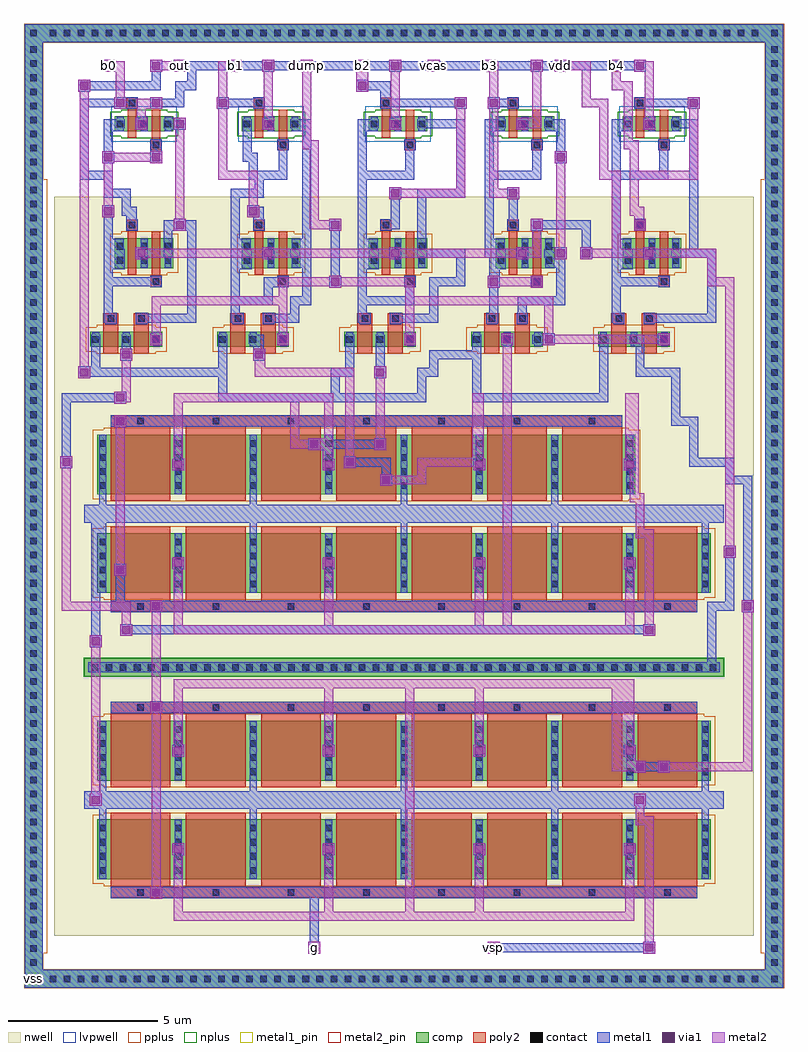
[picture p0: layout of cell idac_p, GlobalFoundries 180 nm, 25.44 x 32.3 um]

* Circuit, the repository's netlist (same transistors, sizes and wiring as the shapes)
* NGSPICE file created from idac_p.ext - technology: gf180mcuD

.subckt p_w2_l2_f8 a_n52_n200# a_n1060_n200# a_452_n200# a_1564_n244# a_n452_n244#
+ w_n2138_n330# a_n556_n200# a_n1460_n244# a_1460_n200# a_52_n244# a_n1564_n200# a_956_n200#
+ a_n2052_n200# a_n956_n244# a_1060_n244# a_n1964_n244# a_556_n244# a_1964_n200#
X0 a_1964_n200# a_1564_n244# a_1460_n200# w_n2138_n330# pfet_03v3 ad=0.88p pd=4.88u as=0.52p ps=2.52u w=2u l=2u
X1 a_452_n200# a_52_n244# a_n52_n200# w_n2138_n330# pfet_03v3 ad=0.52p pd=2.52u as=0.52p ps=2.52u w=2u l=2u
X2 a_956_n200# a_556_n244# a_452_n200# w_n2138_n330# pfet_03v3 ad=0.52p pd=2.52u as=0.52p ps=2.52u w=2u l=2u
X3 a_1460_n200# a_1060_n244# a_956_n200# w_n2138_n330# pfet_03v3 ad=0.52p pd=2.52u as=0.52p ps=2.52u w=2u l=2u
X4 a_n1564_n200# a_n1964_n244# a_n2052_n200# w_n2138_n330# pfet_03v3 ad=0.52p pd=2.52u as=0.88p ps=4.88u w=2u l=2u
X5 a_n1060_n200# a_n1460_n244# a_n1564_n200# w_n2138_n330# pfet_03v3 ad=0.52p pd=2.52u as=0.52p ps=2.52u w=2u l=2u
X6 a_n556_n200# a_n956_n244# a_n1060_n200# w_n2138_n330# pfet_03v3 ad=0.52p pd=2.52u as=0.52p ps=2.52u w=2u l=2u
X7 a_n52_n200# a_n452_n244# a_n556_n200# w_n2138_n330# pfet_03v3 ad=0.52p pd=2.52u as=0.52p ps=2.52u w=2u l=2u
.ends

.subckt p_w1_l0p28_f2 a_n196_n100# a_n52_n100# w_n282_n230# a_108_n100# a_52_n144#
+ a_n108_n144#
X0 a_n52_n100# a_n108_n144# a_n196_n100# w_n282_n230# pfet_03v3 ad=0.26p pd=1.52u as=0.44p ps=2.88u w=1u l=0.28u
X1 a_108_n100# a_52_n144# a_n52_n100# w_n282_n230# pfet_03v3 ad=0.44p pd=2.88u as=0.26p ps=1.52u w=1u l=0.28u
.ends

.subckt n_w0p5_l0p28_f2 a_n52_n50# a_n196_n50# a_52_n94# a_108_n50# a_n108_n94# VSUBS
X0 a_108_n50# a_52_n94# a_n52_n50# VSUBS nfet_03v3 ad=0.22p pd=1.88u as=0.13p ps=1.02u w=0.5u l=0.28u
X1 a_n52_n50# a_n108_n94# a_n196_n50# VSUBS nfet_03v3 ad=0.13p pd=1.02u as=0.22p ps=1.88u w=0.5u l=0.28u
.ends

.subckt p_w2_l2_f7 a_n704_n244# a_n808_n200# a_304_n244# a_n1712_n244# a_1712_n200#
+ a_n1800_n200# a_n1208_n244# a_1208_n200# a_200_n200# a_1312_n244# a_808_n244# a_n200_n244#
+ a_n304_n200# w_n1886_n330# a_n1312_n200# a_704_n200#
X0 a_n1312_n200# a_n1712_n244# a_n1800_n200# w_n1886_n330# pfet_03v3 ad=0.52p pd=2.52u as=0.88p ps=4.88u w=2u l=2u
X1 a_n304_n200# a_n704_n244# a_n808_n200# w_n1886_n330# pfet_03v3 ad=0.52p pd=2.52u as=0.52p ps=2.52u w=2u l=2u
X2 a_200_n200# a_n200_n244# a_n304_n200# w_n1886_n330# pfet_03v3 ad=0.52p pd=2.52u as=0.52p ps=2.52u w=2u l=2u
X3 a_1712_n200# a_1312_n244# a_1208_n200# w_n1886_n330# pfet_03v3 ad=0.88p pd=4.88u as=0.52p ps=2.52u w=2u l=2u
X4 a_1208_n200# a_808_n244# a_704_n200# w_n1886_n330# pfet_03v3 ad=0.52p pd=2.52u as=0.52p ps=2.52u w=2u l=2u
X5 a_n808_n200# a_n1208_n244# a_n1312_n200# w_n1886_n330# pfet_03v3 ad=0.52p pd=2.52u as=0.52p ps=2.52u w=2u l=2u
X6 a_704_n200# a_304_n244# a_200_n200# w_n1886_n330# pfet_03v3 ad=0.52p pd=2.52u as=0.52p ps=2.52u w=2u l=2u
.ends

.subckt p_w0p5_l0p5_f2 a_n52_n50# w_n326_n180# a_52_n94# a_152_n50# a_n240_n50# a_n152_n94#
X0 a_152_n50# a_52_n94# a_n52_n50# w_n326_n180# pfet_03v3 ad=0.22p pd=1.88u as=0.13p ps=1.02u w=0.5u l=0.5u
X1 a_n52_n50# a_n152_n94# a_n240_n50# w_n326_n180# pfet_03v3 ad=0.13p pd=1.02u as=0.22p ps=1.88u w=0.5u l=0.5u
.ends

.subckt idac_p g vsp b0 b1 b2 b3 b4 out dump vcas vdd vss
XU4b vsp vsp m1_988_888# g g vdd m1_988_888# g m1_988_888# g m1_988_888# vsp vsp g
+ g g g vsp p_w2_l2_f8
XU3 vsp vsp m1_988_2804# g g vdd m1_988_2804# g m1_988_2804# g m1_988_2804# vsp vsp
+ g g g g vsp p_w2_l2_f8
XIP0 a_528_4392# vdd vdd a_732_4392# a_528_4392# b0 p_w1_l0p28_f2
XIP1 a_1378_4392# vdd vdd a_1582_4392# a_1378_4392# b1 p_w1_l0p28_f2
XIN0 vcas a_528_4392# a_528_4392# a_732_4392# b0 vss n_w0p5_l0p28_f2
XIP2 a_2228_4392# vdd vdd a_2432_4392# a_2228_4392# b2 p_w1_l0p28_f2
XIN1 vcas a_1378_4392# a_1378_4392# a_1582_4392# b1 vss n_w0p5_l0p28_f2
XIP3 a_3078_4392# vdd vdd a_3282_4392# a_3078_4392# b3 p_w1_l0p28_f2
XIN3 vcas a_3078_4392# a_3078_4392# a_3282_4392# b3 vss n_w0p5_l0p28_f2
XIN2 vcas a_2228_4392# a_2228_4392# a_2432_4392# b2 vss n_w0p5_l0p28_f2
XIP4 a_3928_4392# vdd vdd a_4132_4392# a_3928_4392# b4 p_w1_l0p28_f2
XIN4 vcas a_3928_4392# a_3928_4392# a_4132_4392# b4 vss n_w0p5_l0p28_f2
XU210 g vsp g g m1_240_3480# vsp g vsp vsp g g g m1_988_3464# vdd m1_988_3464# m1_1500_4312#
+ p_w2_l2_f7
XSW0 m1_240_3480# vdd a_732_4392# dump out a_528_4392# p_w0p5_l0p5_f2
XSW2 m1_988_3464# vdd a_2432_4392# dump out a_2228_4392# p_w0p5_l0p5_f2
XSW1 m1_1500_4312# vdd a_1582_4392# dump out a_1378_4392# p_w0p5_l0p5_f2
XSW3 m1_988_2804# vdd a_3282_4392# dump out a_3078_4392# p_w0p5_l0p5_f2
XSW4 m1_988_888# vdd a_4132_4392# dump out a_3928_4392# p_w0p5_l0p5_f2
XU4a vsp vsp m1_988_888# g g vdd m1_988_888# g m1_988_888# g m1_988_888# vsp vsp g
+ g g g vsp p_w2_l2_f8
.ends

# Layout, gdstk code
import gdstk
lib = gdstk.Library(unit=1e-6, precision=1e-09)
def R(c, l, rs):  # rectangles x0, y0, x1, y1
    for r in rs: c.add(gdstk.rectangle(r[:2], r[2:], *l))
def A(c, l, x, y, w, h, nx, ny, dx, dy):  # array of equal rectangles
    R(c, l, [(x+i*dx, y+j*dy, x+i*dx+w, y+j*dy+h) for i in range(nx) for j in range(ny)])
nwell = (21, 0)
comp = (22, 0)
poly2 = (30, 0)
pplus = (31, 0)
nplus = (32, 0)
contact = (33, 0)
metal1 = (34, 0)
metal1_pin = (34, 10)
via1 = (35, 0)
metal2 = (36, 0)
metal2_pin = (36, 10)
lvpwell = (204, 0)

p_w2_l2_f8 = lib.new_cell('p_w2_l2_f8')
R(p_w2_l2_f8, nwell, [(-10.69,-1.65,10.69,1.65)])
R(p_w2_l2_f8, comp, [(-10.26,-1,10.26,1)])
A(p_w2_l2_f8, poly2, -9.82, -1.22, 2, 2.44, 8, 1, 2.52, 0)
R(p_w2_l2_f8, pplus, [(-10.05,-1.23,10.05,-1.16), (-10.42,-1.16,10.42,1.16), (-10.05,1.16,10.05,1.23)])
A(p_w2_l2_f8, contact, -10.19, -0.815, 0.22, 0.22, 9, 4, 2.52, 0.47)
A(p_w2_l2_f8, metal1, -10.195, -0.99, 0.23, 1.98, 9, 1, 2.52, 0)

p_w2_l2_f7 = lib.new_cell('p_w2_l2_f7')
R(p_w2_l2_f7, nwell, [(-9.43,-1.65,9.43,1.65)])
R(p_w2_l2_f7, comp, [(-9,-1,9,1)])
A(p_w2_l2_f7, poly2, -8.56, -1.22, 2, 2.44, 7, 1, 2.52, 0)
R(p_w2_l2_f7, pplus, [(-8.79,-1.23,8.79,-1.16), (-9.16,-1.16,9.16,1.16), (-8.79,1.16,8.79,1.23)])
A(p_w2_l2_f7, contact, -8.93, -0.815, 0.22, 0.22, 8, 4, 2.52, 0.47)
A(p_w2_l2_f7, metal1, -8.935, -0.99, 0.23, 1.98, 8, 1, 2.52, 0)

p_w0p5_l0p5_f2 = lib.new_cell('p_w0p5_l0p5_f2')
R(p_w0p5_l0p5_f2, nwell, [(-1.63,-0.9,1.63,0.9)])
R(p_w0p5_l0p5_f2, comp, [(-1.2,-0.25,1.2,0.25)])
R(p_w0p5_l0p5_f2, poly2, [(-0.76,-0.47,-0.26,0.47), (0.26,-0.47,0.76,0.47)])
R(p_w0p5_l0p5_f2, pplus, [(-0.99,-0.48,0.99,-0.41), (-1.36,-0.41,1.36,0.41), (-0.99,0.41,0.99,0.48)])
A(p_w0p5_l0p5_f2, contact, -1.13, -0.11, 0.22, 0.22, 3, 1, 1.02, 0)
A(p_w0p5_l0p5_f2, metal1, -1.135, -0.24, 0.23, 0.48, 3, 1, 1.02, 0)

p_w1_l0p28_f2 = lib.new_cell('p_w1_l0p28_f2')
R(p_w1_l0p28_f2, nwell, [(-1.41,-1.15,1.41,1.15)])
R(p_w1_l0p28_f2, comp, [(-0.98,-0.5,0.98,0.5)])
R(p_w1_l0p28_f2, poly2, [(-0.54,-0.72,-0.26,0.72), (0.26,-0.72,0.54,0.72)])
R(p_w1_l0p28_f2, pplus, [(-0.77,-0.73,0.77,-0.66), (-1.14,-0.66,1.14,0.66), (-0.77,0.66,0.77,0.73)])
A(p_w1_l0p28_f2, contact, -0.91, -0.345, 0.22, 0.22, 3, 2, 0.8, 0.47)
A(p_w1_l0p28_f2, metal1, -0.915, -0.49, 0.23, 0.98, 3, 1, 0.8, 0)

n_w0p5_l0p28_f2 = lib.new_cell('n_w0p5_l0p28_f2')
R(n_w0p5_l0p28_f2, comp, [(-0.98,-0.25,0.98,0.25)])
R(n_w0p5_l0p28_f2, poly2, [(-0.54,-0.47,-0.26,0.47), (0.26,-0.47,0.54,0.47)])
R(n_w0p5_l0p28_f2, nplus, [(-0.77,-0.48,0.77,-0.41), (-1.14,-0.41,1.14,0.41), (-0.77,0.41,0.77,0.48)])
A(n_w0p5_l0p28_f2, contact, -0.91, -0.11, 0.22, 0.22, 3, 1, 0.8, 0)
A(n_w0p5_l0p28_f2, metal1, -0.915, -0.24, 0.23, 0.48, 3, 1, 0.8, 0)
R(n_w0p5_l0p28_f2, lvpwell, [(-1.1,-0.59,1.1,0.59)])

idac_p = lib.new_cell('idac_p')
R(idac_p, nwell, [(1,1.75,24.4,26.48)])
R(idac_p, comp, [(0,0,25.4,0.6), (0,0.6,0.6,31.66), (24.8,0.6,25.4,31.66), (2,10.43,23.4,11.03), (0,31.66,25.4,32.26)])
A(idac_p, poly2, 2.88, 3.37, 2, 0.27, 8, 2, 2.52, 5.57)
A(idac_p, poly2, 2.88, 12.95, 2, 0.27, 8, 1, 2.52, 0)
A(idac_p, poly2, 2.88, 18.52, 2, 0.27, 7, 1, 2.52, 0)
A(idac_p, poly2, 4.22, 23.46, 0.36, 0.36, 5, 2, 4.25, 4.58)
A(idac_p, poly2, 4.26, 23.82, 0.28, 0.27, 5, 2, 4.25, 4.58)
A(idac_p, poly2, 3.46, 25.09, 0.28, 0.27, 5, 2, 4.25, 4.08)
A(idac_p, poly2, 3.42, 25.36, 0.36, 0.36, 5, 2, 4.25, 4.08)
R(idac_p, poly2, [(2.88,3.01,22.52,3.37), (2.88,9.21,22.52,9.57), (2.88,12.59,22.52,12.95), (2.88,18.79,20,19.15), (2.64,21.96,3.14,22.59), (3.66,21.96,4.16,22.59), (6.89,21.96,7.39,22.59), (7.91,21.96,8.41,22.59), (11.14,21.96,11.64,22.59), (12.16,21.96,12.66,22.59), (15.39,21.96,15.89,22.59), (16.41,21.96,16.91,22.59), (19.64,21.96,20.14,22.59), (20.66,21.96,21.16,22.59)])
R(idac_p, pplus, [(-0.02,-0.02,25.42,0.62), (-0.02,0.62,0.62,1.16), (24.78,0.62,25.42,1.16), (-0.02,1.16,0.76,27.07), (24.64,1.16,25.42,27.07), (-0.02,27.07,0.62,31.64), (24.78,27.07,25.42,31.64), (-0.02,31.64,25.42,32.28)])
R(idac_p, nplus, [(1.98,10.41,23.42,11.05)])
A(idac_p, contact, 0.84, 0.19, 0.22, 0.22, 51, 2, 0.47, 31.66)
A(idac_p, contact, 0.19, 0.745, 0.22, 0.22, 1, 66, 0, 0.47)
A(idac_p, contact, 24.99, 0.745, 0.22, 0.22, 1, 66, 0, 0.47)
A(idac_p, contact, 3.77, 3.08, 0.22, 0.22, 8, 2, 2.52, 6.2)
A(idac_p, contact, 2.25, 10.62, 0.22, 0.22, 45, 1, 0.47, 0)
A(idac_p, contact, 3.77, 12.66, 0.22, 0.22, 8, 1, 2.52, 0)
A(idac_p, contact, 3.77, 18.86, 0.22, 0.22, 7, 1, 2.52, 0)
A(idac_p, contact, 4.29, 23.53, 0.22, 0.22, 5, 2, 4.25, 4.58)
A(idac_p, contact, 3.49, 25.43, 0.22, 0.22, 5, 2, 4.25, 4.08)
R(idac_p, contact, [(0.19,0.19,0.41,0.41), (24.99,0.19,25.21,0.41), (2.78,22.3,3,22.52), (3.8,22.3,4.02,22.52), (7.03,22.3,7.25,22.52), (8.05,22.3,8.27,22.52), (11.28,22.3,11.5,22.52), (12.3,22.3,12.52,22.52), (15.53,22.3,15.75,22.52), (16.55,22.3,16.77,22.52), (19.78,22.3,20,22.52), (20.8,22.3,21.02,22.52), (0.19,31.85,0.41,32.07), (24.99,31.85,25.21,32.07)])
A(idac_p, metal1, 2.505, 3.65, 0.23, 2.34, 5, 2, 5.04, 2.94)
A(idac_p, metal1, 4.94, 4.44, 0.4, 0.4, 4, 2, 5.04, 3.3)
A(idac_p, metal1, 7.545, 13.23, 0.23, 2.34, 4, 1, 5.04, 0)
A(idac_p, metal1, 4.94, 14.02, 0.4, 0.4, 4, 2, 5.04, 3.3)
A(idac_p, metal1, 2.505, 16.17, 0.23, 2.34, 4, 1, 5.04, 0)
A(idac_p, metal1, 4.2, 21.51, 0.4, 0.4, 3, 1, 4.25, 0)
A(idac_p, metal1, 2.65, 22.26, 0.43, 0.34, 3, 1, 4.25, 0)
A(idac_p, metal1, 3.72, 22.56, 0.38, 0.04, 3, 1, 4.25, 0)
A(idac_p, metal1, 2.65, 24.05, 0.7, 0.3, 3, 1, 4.25, 0)
A(idac_p, metal1, 2.65, 24.35, 0.435, 0.09, 3, 1, 4.25, 0)
A(idac_p, metal1, 3.315, 24.35, 0.035, 0.09, 5, 1, 4.25, 0)
A(idac_p, metal1, 3.71, 24.39, 0.4, 0.4, 4, 1, 4.25, 0)
A(idac_p, metal1, 11.15, 24.44, 0.7, 0.3, 3, 1, 4.25, 0)
A(idac_p, metal1, 11.15, 24.74, 0.435, 0.34, 3, 1, 4.25, 0)
A(idac_p, metal1, 11.15, 25.08, 0.3, 1.97, 3, 1, 4.25, 0)
A(idac_p, metal1, 11.15, 27.05, 1.9, 0.3, 3, 1, 4.25, 0)
A(idac_p, metal1, 8.5, 27.35, 0.3, 0.68, 4, 1, 4.25, 0)
A(idac_p, metal1, 11.15, 27.35, 0.3, 1.33, 3, 1, 4.25, 0)
A(idac_p, metal1, 8.46, 28.03, 0.38, 0.38, 4, 1, 4.25, 0)
A(idac_p, metal1, 3.71, 28.72, 0.4, 0.4, 5, 1, 4.25, 0)
A(idac_p, metal1, 7.66, 29.43, 0.38, 0.04, 4, 2, 4.25, 0.34)
A(idac_p, metal1, 13.5, 30.66, 0.4, 0.05, 3, 2, 3.45, 0.35)
R(idac_p, metal1, [(0,0,25.4,0.6), (0,0.6,0.6,31.66), (24.8,0.6,25.4,31.66), (9.5,1.15,9.9,1.55), (15.5,1.15,15.9,1.2), (20.71,1.15,21.11,1.2), (15.5,1.2,21.11,1.5), (15.5,1.5,15.9,1.55), (20.71,1.5,21.11,1.55), (9.55,1.55,9.85,3), (4.2,2.99,4.6,3), (2.88,3,22.52,3.38), (4.2,3.38,4.6,3.39), (2,5.99,23.4,6.59), (20.375,7.2,20.8,7.25), (21.2,7.2,21.6,7.25), (20.375,7.25,21.6,7.55), (20.375,7.55,20.8,7.6), (21.2,7.55,21.6,7.6), (20.375,7.6,20.46,7.74), (4.2,9.19,4.6,9.2), (2.88,9.2,22.52,9.58), (4.2,9.58,4.6,9.59), (2.13,10.56,23.27,10.9), (22.85,10.9,23.15,12.62), (2.18,11.4,2.58,11.8), (3.2,11.78,3.6,11.83), (20.71,11.78,21.11,11.83), (2.23,11.8,2.53,13.23), (3.2,11.83,21.11,12.13), (3.2,12.13,3.6,12.18), (20.71,12.13,21.11,12.18), (4.2,12.57,4.6,12.58), (24,12.57,24.4,12.97), (2.88,12.58,22.52,12.96), (22.85,12.62,23.75,12.92), (23.45,12.92,23.75,14.4), (3.05,12.96,3.35,13.8), (4.2,12.96,4.6,12.97), (24.05,12.97,24.35,16.85), (2.23,13.23,2.735,15.57), (3,13.8,3.4,14.2), (23.4,14.4,23.8,14.8), (2,15.57,23.4,16.17), (11.9,16.8,12.3,17.2), (23.45,16.85,24.35,17.15), (23.45,17.15,23.75,17.45), (11.95,17.2,12.25,17.45), (1.2,17.4,1.6,17.8), (10.68,17.4,11.08,17.45), (10.68,17.45,12.25,17.75), (22.25,17.45,23.75,17.75), (10.68,17.75,11.08,17.8), (22.25,17.75,22.55,18.82), (1.25,17.8,1.55,19.61), (9.5,18,10.065,18.05), (11.7,18,12.1,18.05), (9.5,18.05,12.1,18.35), (9.5,18.35,10.065,18.4), (11.7,18.35,12.1,18.4), (3,18.77,3.4,18.78), (2.88,18.78,20,19.16), (21.65,18.82,22.55,19.12), (21.65,19.12,21.95,20.45), (3,19.16,3.4,19.17), (3,19.56,3.4,19.61), (1.25,19.61,3.4,19.91), (6.48,19.61,13.45,19.91), (14.98,19.61,19.53,19.91), (3,19.91,3.4,19.96), (6.48,19.91,6.78,20.45), (10.25,19.91,10.55,20.45), (13.15,19.91,13.45,20.45), (14.98,19.91,15.28,21.05), (19.23,19.91,19.53,21.86), (1.8,20.4,2.2,20.45), (11.7,20.4,12.1,20.8), (1.8,20.45,6.78,20.75), (10.25,20.45,11.03,20.75), (13.15,20.45,13.85,20.75), (20.45,20.45,21.95,20.75), (1.8,20.75,2.53,20.8), (6.48,20.75,6.78,21.86), (10.73,20.75,11.03,21.86), (13.55,20.75,13.85,21.05), (20.45,20.75,20.75,21.56), (2.23,20.8,2.53,21.86), (11.75,20.8,12.05,21.86), (3.2,21,3.6,21.4), (7.65,21,8.05,21.4), (13.55,21.05,15.28,21.35), (14.98,21.35,15.28,21.86), (3.25,21.4,3.55,21.86), (7.65,21.4,8,21.47), (7.7,21.47,8,21.56), (15.95,21.51,16.35,21.91), (17.285,21.51,17.75,21.56), (21.2,21.51,21.6,21.91), (7.5,21.56,8,21.86), (17,21.56,17.75,21.86), (20.25,21.56,20.75,21.86), (17.285,21.86,17.75,21.91), (2.7,22.22,3.08,22.26), (3.72,22.22,4.1,22.26), (6.95,22.22,7.33,22.26), (7.97,22.22,8.35,22.26), (11.2,22.22,11.58,22.26), (12.22,22.22,12.6,22.26), (15.45,22.22,15.83,22.26), (16.47,22.22,16.85,22.6), (19.7,22.22,20.08,22.26), (20.72,22.22,21.1,22.26), (3.72,22.26,5.75,22.56), (7.97,22.26,9.2,22.56), (12.22,22.26,13.85,22.56), (15.45,22.26,15.85,22.6), (19.65,22.26,20.08,22.6), (20.72,22.26,23.15,22.56), (5.45,22.56,5.75,25.34), (8.9,22.56,9.2,22.85), (13.55,22.56,13.85,23.49), (20.72,22.56,21.1,22.6), (22.85,22.56,23.15,24.44), (2.65,22.6,2.95,23.49), (6.9,22.6,7.2,22.85), (11.15,22.6,11.45,22.85), (15.55,22.6,15.85,23.44), (16.51,22.6,16.81,22.85), (19.65,22.6,19.95,23.49), (6.9,22.85,8.31,23.15), (8.9,22.85,9.6,23.15), (11.15,22.85,13.05,23.15), (16.51,22.85,18.1,23.15), (6.9,23.15,7.2,24.05), (8.01,23.15,8.31,23.45), (9.3,23.15,9.6,24.1), (11.15,23.15,11.45,24.05), (12.75,23.15,13.05,23.45), (17.8,23.15,18.1,24.1), (10.2,23.44,10.6,23.84), (15.5,23.44,15.9,23.84), (16.95,23.44,17.35,23.84), (4.21,23.45,4.59,23.49), (8.01,23.45,8.84,23.79), (12.71,23.45,13.09,23.83), (21.21,23.45,21.59,23.49), (2.65,23.49,4.59,23.79), (13.55,23.49,14.75,23.79), (19.65,23.49,21.59,23.79), (2.65,23.79,2.95,24.05), (4.21,23.79,4.59,23.83), (8.46,23.79,8.84,23.83), (14.45,23.79,14.75,24.44), (19.65,23.79,19.95,24.05), (21.21,23.79,21.59,23.83), (10.25,23.84,10.55,25.34), (15.55,23.84,15.9,24.05), (15.55,24.05,16.1,24.35), (19.65,24.05,20.35,24.35), (9.165,24.1,9.6,24.44), (17.665,24.1,18.1,24.39), (15.55,24.35,15.835,24.44), (19.65,24.35,20.085,24.44), (17.665,24.39,18.15,24.44), (18.6,24.39,19,24.79), (20.71,24.39,21.11,24.79), (2.65,24.44,3.35,24.74), (4.65,24.44,4.95,25.34), (6.9,24.44,7.6,24.74), (8.9,24.44,9.6,24.74), (13.15,24.44,14.75,24.74), (17.4,24.44,18.15,24.74), (21.65,24.44,23.15,24.74), (2.65,24.74,3.085,25.08), (6.9,24.74,7.335,25.08), (9.165,24.74,9.6,25.08), (13.15,24.74,13.45,26.45), (17.665,24.74,18.15,24.79), (22.25,24.74,22.55,28.77), (18.65,24.79,18.95,25.39), (2.65,25.08,2.95,25.8), (6.9,25.08,7.2,26.45), (9.3,25.08,9.6,28.68), (4.65,25.34,5.75,25.69), (10.2,25.34,10.6,25.74), (16.95,25.34,17.35,25.39), (20.4,25.34,20.8,25.74), (3.41,25.35,3.79,25.73), (7.66,25.35,8.04,25.73), (11.91,25.35,12.29,25.39), (16.16,25.35,16.54,25.73), (11.91,25.39,12.56,25.73), (16.95,25.39,18.95,25.69), (5,25.69,5.4,25.74), (16.95,25.69,17.35,25.74), (3.41,25.73,3.75,25.85), (7.66,25.73,8,25.8), (12.26,25.73,12.56,26.4), (16.2,25.73,16.5,26.4), (2.6,25.8,3,26.2), (7.45,25.8,8,26.15), (3.25,25.85,3.75,26.15), (3.25,26.15,3.55,26.45), (7.45,26.15,7.85,26.2), (12.21,26.4,12.61,26.8), (16.15,26.4,16.55,26.8), (2.65,26.45,3.55,26.75), (6.9,26.45,8,26.75), (13.15,26.45,14.75,26.75), (2.65,26.75,2.95,27.05), (7.7,26.75,8,27.05), (14.45,26.75,14.75,28.77), (1.85,27.05,2.95,27.35), (7.5,27.05,8.8,27.35), (1.85,27.35,2.15,29.47), (7.5,27.35,7.8,27.65), (2.6,27.6,3,28), (4.2,27.6,4.6,28), (17.75,27.6,18.15,28), (7.3,27.65,7.8,27.95), (7.3,27.95,7.6,29.07), (2.65,28,2.95,28.68), (4.21,28,4.59,28.41), (17.8,28,18.1,28.68), (2.65,28.68,3.085,28.77), (9.165,28.68,9.6,28.77), (11.15,28.68,11.585,28.77), (15.4,28.68,15.835,28.77), (17.665,28.68,18.1,28.77), (19.65,28.68,20.085,28.77), (4.915,28.72,5.4,28.77), (2.65,28.77,3.35,29.07), (4.65,28.77,5.4,29.07), (8.9,28.77,9.6,29.07), (11.15,28.77,11.85,29.07), (13.15,28.77,14.75,29.07), (15.4,28.77,16.1,29.07), (17.4,28.77,18.1,29.07), (19.65,28.77,20.35,29.07), (21.65,28.77,22.55,29.07), (4.915,29.07,5.4,29.12), (3,29.42,3.4,29.43), (4.2,29.42,4.6,29.47), (6.43,29.42,6.83,29.47), (14.4,29.42,14.8,29.47), (15.5,29.42,15.9,29.47), (22.2,29.42,22.6,29.47), (3,29.43,3.79,29.47), (1.85,29.47,3.79,29.77), (4.2,29.47,5.35,29.77), (6.43,29.47,8.04,29.77), (11.91,29.47,14.8,29.77), (15.5,29.47,16.54,29.77), (20.41,29.47,22.6,29.77), (3,29.77,3.79,29.81), (4.2,29.77,4.6,29.82), (5.05,29.77,5.35,30.05), (6.43,29.77,6.83,29.82), (14.4,29.77,14.8,29.82), (15.5,29.77,15.9,29.82), (22.2,29.77,22.6,29.82), (3,29.81,3.4,29.82), (11.91,29.81,12.25,30.05), (1.8,30,2.2,30.05), (11.1,30,11.5,30.05), (1.8,30.05,4.55,30.35), (5.05,30.05,5.75,30.35), (11.1,30.05,12.25,30.35), (1.8,30.35,2.2,30.4), (4.25,30.35,4.55,30.66), (5.45,30.35,5.75,30.71), (11.1,30.35,11.5,30.4), (4.2,30.66,4.6,31.06), (7.96,30.66,8.36,30.71), (12.21,30.66,12.61,30.71), (5.45,30.71,20.8,31.01), (7.96,31.01,8.36,31.06), (12.21,31.01,12.61,31.06), (0,31.66,25.4,32.26)])
R(idac_p, metal1_pin, [(0.1,0.1,0.5,0.5)])
A(idac_p, via1, 5.01, 4.51, 0.26, 0.26, 4, 2, 5.04, 3.3)
A(idac_p, via1, 5.01, 14.09, 0.26, 0.26, 4, 2, 5.04, 3.3)
A(idac_p, via1, 4.27, 21.58, 0.26, 0.26, 3, 1, 4.25, 0)
A(idac_p, via1, 3.78, 24.46, 0.26, 0.26, 4, 1, 4.25, 0)
A(idac_p, via1, 8.03, 28.79, 0.26, 0.26, 4, 1, 4.25, 0)
A(idac_p, via1, 13.57, 30.73, 0.26, 0.26, 3, 1, 3.45, 0)
R(idac_p, via1, [(9.57,1.22,9.83,1.48), (15.57,1.22,15.83,1.48), (20.78,1.22,21.04,1.48), (4.27,3.06,4.53,3.32), (2.25,6.16,2.51,6.42), (20.47,6.16,20.73,6.42), (20.47,7.27,20.73,7.53), (21.27,7.27,21.53,7.53), (4.27,9.26,4.53,9.52), (2.25,11.47,2.51,11.73), (3.27,11.85,3.53,12.11), (20.78,11.85,21.04,12.11), (4.27,12.64,4.53,12.9), (24.07,12.64,24.33,12.9), (3.07,13.87,3.33,14.13), (23.47,14.47,23.73,14.73), (11.97,16.87,12.23,17.13), (1.27,17.47,1.53,17.73), (10.75,17.47,11.01,17.73), (9.57,18.07,9.83,18.33), (11.77,18.07,12.03,18.33), (3.07,18.84,3.33,19.1), (3.07,19.63,3.33,19.89), (1.87,20.47,2.13,20.73), (11.77,20.47,12.03,20.73), (3.27,21.07,3.53,21.33), (7.72,21.07,7.98,21.33), (16.02,21.58,16.28,21.84), (17.42,21.58,17.68,21.84), (21.27,21.58,21.53,21.84), (10.27,23.51,10.53,23.77), (15.57,23.51,15.83,23.77), (17.02,23.51,17.28,23.77), (17.82,24.46,18.08,24.72), (18.67,24.46,18.93,24.72), (20.78,24.46,21.04,24.72), (5.07,25.41,5.33,25.67), (10.27,25.41,10.53,25.67), (17.02,25.41,17.28,25.67), (20.47,25.41,20.73,25.67), (2.67,25.87,2.93,26.13), (7.52,25.87,7.78,26.13), (12.28,26.47,12.54,26.73), (16.22,26.47,16.48,26.73), (2.67,27.67,2.93,27.93), (4.27,27.67,4.53,27.93), (17.82,27.67,18.08,27.93), (3.78,28.79,4.04,29.05), (5.07,28.79,5.33,29.05), (3.07,29.49,3.33,29.75), (4.27,29.49,4.53,29.75), (6.5,29.49,6.76,29.75), (14.47,29.49,14.73,29.75), (15.57,29.49,15.83,29.75), (22.27,29.49,22.53,29.75), (1.87,30.07,2.13,30.33), (11.17,30.07,11.43,30.33), (4.27,30.73,4.53,30.99), (8.03,30.73,8.29,30.99), (12.28,30.73,12.54,30.99)])
A(idac_p, metal2, 4.99, 2.55, 0.3, 1.89, 4, 2, 5.04, 9.58)
A(idac_p, metal2, 4.94, 4.44, 0.4, 0.4, 4, 2, 5.04, 9.58)
A(idac_p, metal2, 4.94, 7.74, 0.4, 0.4, 3, 1, 5.04, 0)
A(idac_p, metal2, 4.99, 8.14, 0.3, 1.89, 3, 1, 5.04, 0)
A(idac_p, metal2, 4.2, 21.51, 0.4, 0.4, 3, 1, 4.25, 0)
A(idac_p, metal2, 4.25, 21.91, 0.3, 0.94, 3, 1, 4.25, 0)
A(idac_p, metal2, 3.71, 24.39, 0.4, 0.05, 4, 1, 4.25, 0)
A(idac_p, metal2, 3.71, 24.74, 0.4, 0.05, 3, 1, 4.25, 0)
R(idac_p, metal2, [(9.5,1.15,9.9,1.55), (15.5,1.15,15.9,1.55), (20.71,1.15,21.11,1.55), (20.76,1.55,21.06,5.45), (4.99,2.25,20.41,2.55), (12.75,2.55,13.05,10.03), (4.2,2.99,4.6,3.39), (4.25,3.39,4.55,9.19), (20.45,5.45,21.06,5.75), (20.45,5.75,20.75,6.09), (2.18,6.09,2.58,6.49), (20.4,6.09,20.8,6.49), (2.23,6.49,2.53,11.4), (20.4,7.2,20.8,7.25), (21.2,7.2,21.6,7.25), (19.65,7.25,20.8,7.6), (21.2,7.25,24.35,7.55), (21.2,7.55,21.6,7.6), (24.05,7.55,24.35,12.57), (19.65,7.6,20.46,8.14), (19.65,8.14,20.41,10.03), (4.2,9.19,4.6,9.59), (4.25,9.59,4.55,12.57), (4.99,10.03,20.41,10.33), (2.18,11.4,2.58,11.8), (3.2,11.78,3.6,12.18), (20.71,11.78,21.11,12.18), (4.99,11.83,20.41,12.13), (16,12.13,16.3,21.51), (3.25,12.18,3.55,12.62), (20.76,12.18,21.06,15.05), (4.2,12.57,4.6,12.97), (24,12.57,24.4,12.97), (1.25,12.62,3.55,12.92), (1.25,12.92,1.55,17.4), (3,13.8,3.4,14.2), (3.05,14.2,3.35,18.77), (23.4,14.4,23.8,14.8), (23.45,14.8,23.75,23.49), (20.45,15.05,21.06,15.35), (20.45,15.35,20.75,16.25), (20.25,16.25,20.75,16.55), (20.25,16.55,20.55,17.32), (11.9,16.8,12.3,16.85), (11.9,16.85,13.45,17.15), (11.9,17.15,12.3,17.2), (13.15,17.15,13.45,17.45), (4.94,17.32,5.34,17.72), (9.98,17.32,10.38,17.72), (15.02,17.32,15.42,17.45), (20.06,17.32,20.55,17.72), (1.2,17.4,1.6,17.8), (10.68,17.4,11.08,17.8), (13.15,17.45,15.42,17.72), (4.99,17.72,5.29,19.61), (9.98,17.72,10.33,18), (13.15,17.72,15.37,17.75), (20.11,17.72,20.55,19.91), (14.98,17.75,15.37,19.91), (10.73,17.8,11.03,20.45), (9.5,18,10.33,18.05), (11.7,18,12.1,18.4), (8.9,18.05,10.33,18.35), (8.9,18.35,9.2,19.61), (9.5,18.35,10.33,18.4), (10.03,18.4,10.33,19.61), (11.75,18.4,12.05,20.4), (3,18.77,3.4,19.17), (3,19.56,3.4,19.61), (3,19.61,3.55,19.96), (4.99,19.61,10.33,19.91), (3.25,19.96,3.55,21), (1.8,20.4,2.2,20.8), (11.7,20.4,12.1,20.8), (7.7,20.45,11.03,20.75), (7.7,20.75,8.05,21), (1.85,20.8,2.15,30), (3.2,21,3.6,21.4), (7.65,21,8.05,21.4), (15.95,21.51,16.35,21.91), (17.35,21.51,17.75,21.56), (21.2,21.51,21.6,21.56), (17.35,21.56,21.6,21.86), (17.35,21.86,17.75,21.91), (21.2,21.86,21.6,21.91), (17.4,21.91,17.7,22.85), (4.25,22.85,8.8,23.15), (12.75,22.85,17.7,23.15), (8.5,23.15,8.8,23.49), (12.75,23.15,13.05,23.49), (10.2,23.44,10.6,23.49), (15.5,23.44,15.9,23.49), (16.95,23.44,17.35,23.49), (8.5,23.49,13.05,23.79), (15.5,23.49,17.35,23.79), (22.85,23.49,23.75,23.79), (10.2,23.79,10.6,23.84), (15.5,23.79,15.9,23.84), (16.95,23.79,17.35,23.84), (22.85,23.79,23.15,24.44), (17.75,24.39,18.15,24.79), (18.6,24.39,19,24.44), (20.71,24.39,21.11,24.44), (3.71,24.44,17.3,24.74), (18.6,24.44,23.15,24.74), (16.46,24.74,17.3,24.79), (18.6,24.74,19,24.79), (19.65,24.74,19.95,27.05), (20.71,24.74,21.11,24.79), (17,24.79,17.3,25.34), (17.8,24.79,18.1,27.6), (5,25.34,5.4,25.74), (10.2,25.34,10.6,25.39), (16.95,25.34,17.35,25.74), (20.4,25.34,20.8,25.74), (9.55,25.39,10.6,25.69), (9.55,25.69,9.85,28.07), (10.2,25.69,10.6,25.74), (5.05,25.74,5.35,28.72), (20.4,25.74,20.75,25.85), (2.6,25.8,3,26.2), (7.45,25.8,7.85,26.2), (20.25,25.85,20.75,26.15), (20.25,26.15,20.55,27.05), (2.65,26.2,2.95,27.6), (7.5,26.2,7.8,27.05), (12.21,26.4,12.61,26.45), (16.15,26.4,16.55,26.45), (12.21,26.45,14.75,26.75), (15.55,26.45,16.55,26.75), (12.21,26.75,12.61,26.8), (14.45,26.75,14.75,29.42), (15.55,26.75,15.85,29.42), (16.15,26.75,16.55,26.8), (6.48,27.05,7.8,27.35), (19.23,27.05,19.95,27.35), (20.25,27.05,22.55,27.35), (6.48,27.35,6.78,29.42), (19.23,27.35,19.53,29.47), (20.25,27.35,20.55,28.07), (22.25,27.35,22.55,29.42), (2.6,27.6,3,27.65), (4.2,27.6,4.6,27.65), (17.75,27.6,18.15,28), (2.6,27.65,4.6,27.95), (2.6,27.95,3,28), (4.2,27.95,4.6,28), (9.3,28.07,9.85,28.37), (20.05,28.07,20.55,28.37), (9.3,28.37,9.6,30.66), (20.05,28.37,20.35,30.05), (3.71,28.72,4.11,29.12), (5,28.72,5.4,29.12), (7.96,28.72,8.36,29.12), (12.21,28.72,12.61,29.12), (16.46,28.72,16.86,28.77), (20.71,28.72,21.11,29.12), (16.46,28.77,17.3,29.12), (3.76,29.12,4.06,29.42), (8.01,29.12,8.31,30.66), (12.26,29.12,12.56,30.66), (17,29.12,17.3,30.66), (20.76,29.12,21.06,30.66), (3,29.42,3.4,29.82), (3.76,29.42,4.6,29.77), (6.43,29.42,6.83,29.82), (14.4,29.42,14.8,29.82), (15.5,29.42,15.9,29.82), (22.2,29.42,22.6,29.82), (18.65,29.47,19.53,29.77), (4.2,29.77,4.6,29.82), (18.65,29.77,18.95,30.71), (3.05,29.82,3.35,30.66), (6.48,29.82,6.78,30.66), (15.55,29.82,15.85,30.66), (1.8,30,2.2,30.4), (11.1,30,11.5,31.06), (19.65,30.05,20.35,30.35), (19.65,30.35,19.95,30.66), (2.6,30.66,3.35,31.01), (4.2,30.66,4.6,30.71), (5,30.66,5.4,30.71), (6.48,30.66,7.25,31.01), (7.96,30.66,8.36,31.06), (9.25,30.66,9.65,31.06), (12.21,30.66,12.61,31.06), (13.5,30.66,13.9,31.06), (15.35,30.66,15.85,31.01), (16.95,30.66,17.35,31.06), (17.75,30.66,18.15,30.71), (19.6,30.66,20,31.06), (20.4,30.66,21.06,31.01), (4.2,30.71,5.4,31.01), (17.75,30.71,18.95,31.01), (2.6,31.01,3,31.06), (4.2,31.01,4.6,31.06), (5,31.01,5.4,31.06), (6.85,31.01,7.25,31.06), (15.35,31.01,15.75,31.06), (17.75,31.01,18.15,31.06), (20.4,31.01,20.8,31.06)])
R(idac_p, metal2_pin, [(9.5,1.15,9.9,1.55), (15.5,1.15,15.9,1.55), (2.6,30.66,3,31.06), (5,30.66,5.4,31.06), (6.85,30.66,7.25,31.06), (9.25,30.66,9.65,31.06), (11.1,30.66,11.5,31.06), (13.5,30.66,13.9,31.06), (15.35,30.66,15.75,31.06), (17.75,30.66,18.15,31.06), (19.6,30.66,20,31.06)])
idac_p.add(gdstk.Reference(p_w2_l2_f8, (12.7,4.64)))
idac_p.add(gdstk.Reference(p_w2_l2_f8, (12.7,7.94)))
idac_p.add(gdstk.Reference(p_w2_l2_f8, (12.7,14.22)))
idac_p.add(gdstk.Reference(p_w2_l2_f7, (11.44,17.52)))
idac_p.add(gdstk.Reference(p_w0p5_l0p5_f2, (3.4,21.71)))
idac_p.add(gdstk.Reference(p_w0p5_l0p5_f2, (7.65,21.71)))
idac_p.add(gdstk.Reference(p_w0p5_l0p5_f2, (11.9,21.71)))
idac_p.add(gdstk.Reference(p_w0p5_l0p5_f2, (16.15,21.71)))
idac_p.add(gdstk.Reference(p_w0p5_l0p5_f2, (20.4,21.71)))
idac_p.add(gdstk.Reference(p_w1_l0p28_f2, (4,24.59)))
idac_p.add(gdstk.Reference(p_w1_l0p28_f2, (8.25,24.59)))
idac_p.add(gdstk.Reference(p_w1_l0p28_f2, (12.5,24.59)))
idac_p.add(gdstk.Reference(p_w1_l0p28_f2, (16.75,24.59)))
idac_p.add(gdstk.Reference(p_w1_l0p28_f2, (21,24.59)))
idac_p.add(gdstk.Reference(n_w0p5_l0p28_f2, (4,28.92)))
idac_p.add(gdstk.Reference(n_w0p5_l0p28_f2, (8.25,28.92)))
idac_p.add(gdstk.Reference(n_w0p5_l0p28_f2, (12.5,28.92)))
idac_p.add(gdstk.Reference(n_w0p5_l0p28_f2, (16.75,28.92)))
idac_p.add(gdstk.Reference(n_w0p5_l0p28_f2, (21,28.92)))
idac_p.add(gdstk.Label('g', (9.7,1.35), layer=36, texttype=10))
idac_p.add(gdstk.Label('vsp', (15.7,1.35), layer=36, texttype=10))
idac_p.add(gdstk.Label('b0', (2.8,30.86), layer=36, texttype=10))
idac_p.add(gdstk.Label('b1', (7.05,30.86), layer=36, texttype=10))
idac_p.add(gdstk.Label('b2', (11.3,30.86), layer=36, texttype=10))
idac_p.add(gdstk.Label('b3', (15.55,30.86), layer=36, texttype=10))
idac_p.add(gdstk.Label('b4', (19.8,30.86), layer=36, texttype=10))
idac_p.add(gdstk.Label('out', (5.2,30.86), layer=36, texttype=10))
idac_p.add(gdstk.Label('dump', (9.45,30.86), layer=36, texttype=10))
idac_p.add(gdstk.Label('vcas', (13.7,30.86), layer=36, texttype=10))
idac_p.add(gdstk.Label('vdd', (17.95,30.86), layer=36, texttype=10))
idac_p.add(gdstk.Label('vss', (0.3,0.3), layer=34, texttype=10))

lib.write_gds('idac_p.gds')
